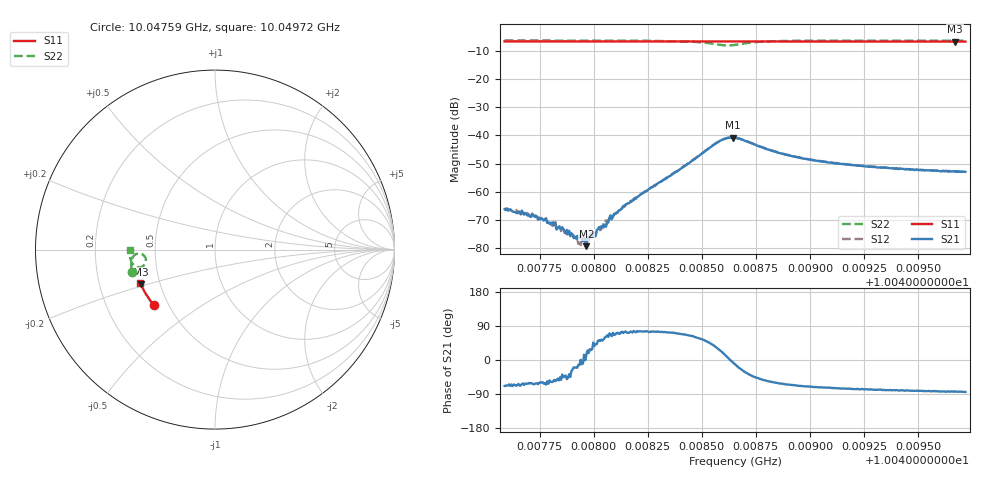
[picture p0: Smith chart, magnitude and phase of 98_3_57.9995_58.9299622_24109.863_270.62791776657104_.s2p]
#  HZ  S  RI  R  50.00
! Rohde & Schwarz Vector Network Analyzer
! Rohde-Schwarz,ZNB20-2Port,1311601062101988,3.16
! Created: UTC 3/21/2024, 12:54:42 AM
! freq[Hz]  re:S11  im:S11  re:S21  im:S21  re:S12  im:S12  re:S22  im:S22
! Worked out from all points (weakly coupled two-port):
!   401 points, 10.04759 GHz to 10.04972 GHz, reference 50 ohm
!   highest |S21| = -40.80 dB at 10.04864 GHz (marker M1); lowest = -79.3 dB at 10.04797 GHz (marker M2)
!   lowest |S11| = -6.8 dB at 10.04967 GHz (marker M3), VSWR 2.68, Z = 19.4 - j9.38 ohm
!   |S11| at or under -10 dB: nowhere
!   |S22| runs from -8.2 to -6.4 dB; largest |S21 - S12| = 0.00062
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1.0047588e10  -0.3419 -0.3076  0.00018 -0.000458  0.000226 -0.000428  -0.4611 -0.1221
1.0047769e10  -0.3497 -0.2982  0.000143 -0.000274  0.000141 -0.000295  -0.4638 -0.1086
1.0047892e10  -0.3547 -0.2917  0.000116 -0.000115  0.000153 -0.000108  -0.4653 -0.0992
1.0047934e10  -0.3565 -0.2895  0.000161 -3.79e-05  0.000135 -1.24e-05  -0.4657 -0.0956
1.0047945e10  -0.3568 -0.2891  0.000142 -2.84e-05  0.000135 -1.3e-05  -0.4659 -0.0948
1.0047956e10  -0.3573 -0.2885  0.000148 3.69e-05  0.000141 2.19e-05  -0.4658 -0.0939
1.0047966e10  -0.3578 -0.2879  0.000105 2.69e-05  0.000143 5.19e-05  -0.4659 -0.093
1.0047982e10  -0.3584 -0.2871  0.000148 8.07e-05  0.000111 0.000105  -0.466 -0.0917
1.0047998e10  -0.359 -0.2862  0.000109 0.000114  0.000139 8.83e-05  -0.4662 -0.0901
1.004803e10  -0.3602 -0.2845  0.000141 0.000169  0.000134 0.00016  -0.4666 -0.0874
1.0048057e10  -0.3614 -0.283  0.000116 0.00021  0.00013 0.000282  -0.4666 -0.085
1.0048083e10  -0.3623 -0.2816  0.000148 0.000287  0.000126 0.00031  -0.4668 -0.0827
1.0048147e10  -0.365 -0.2783  0.000148 0.00057  0.000147 0.000563  -0.4668 -0.0764
1.0048302e10  -0.3708 -0.2699  0.000389 0.0014  0.000288 0.00139  -0.4648 -0.0585
1.0048574e10  -0.3801 -0.2543  0.00651 0.00381  0.00629 0.00421  -0.4041 -0.0267
1.0048643e10  -0.382 -0.2508  0.00906 -0.000992  0.00916 -0.00038  -0.3868 -0.0723
1.0048654e10  -0.3826 -0.2503  0.00884 -0.00184  0.00897 -0.00125  -0.3903 -0.0796
1.0048861e10  -0.3901 -0.2391  0.00225 -0.00427  0.00257 -0.00416  -0.4586 -0.0802
1.0049011e10  -0.395 -0.2304  0.0012 -0.00343  0.00142 -0.00339  -0.4685 -0.0607
1.0049368e10  -0.406 -0.2095  0.000469 -0.00257  0.00064 -0.00255  -0.4747 -0.0279
1.0049671e10  -0.4142 -0.1911  0.000271 -0.00225  0.000376 -0.00225  -0.4758 -0.00491
1.0049719e10  -0.4155 -0.1882  0.000229 -0.00224  0.000366 -0.00223  -0.4758 -0.00116
